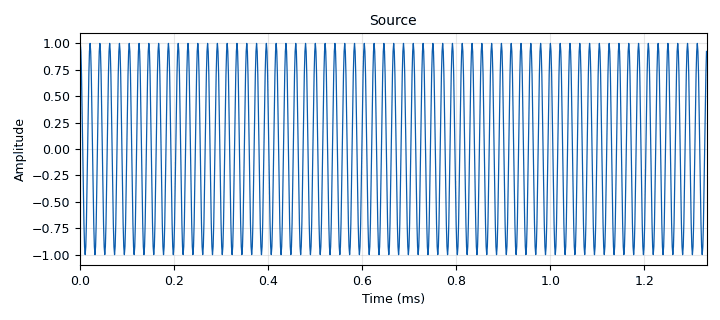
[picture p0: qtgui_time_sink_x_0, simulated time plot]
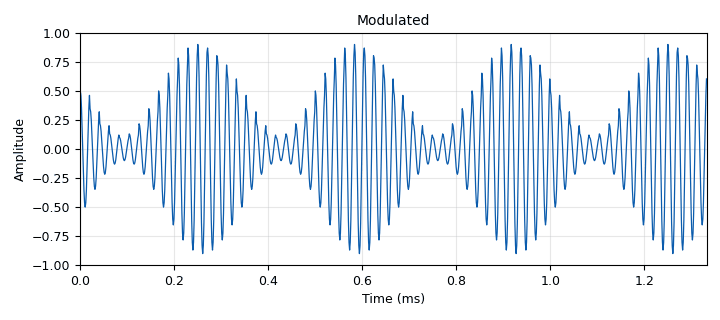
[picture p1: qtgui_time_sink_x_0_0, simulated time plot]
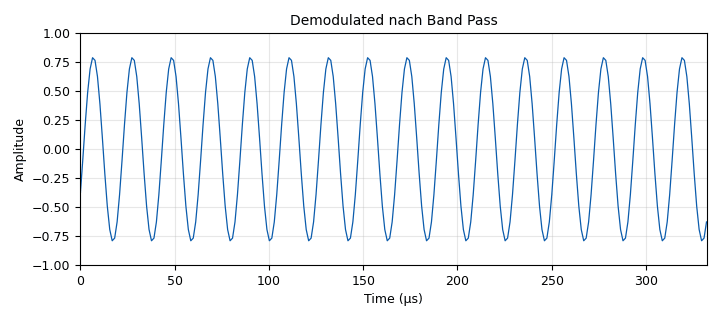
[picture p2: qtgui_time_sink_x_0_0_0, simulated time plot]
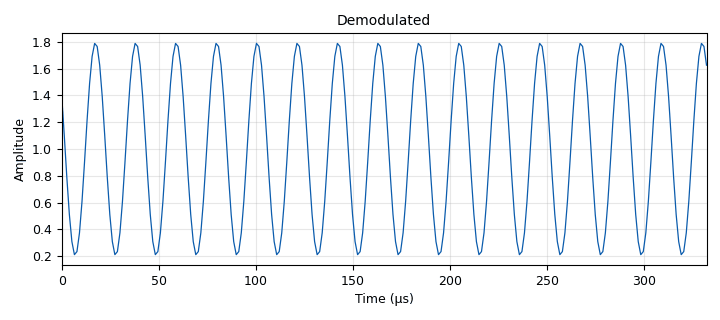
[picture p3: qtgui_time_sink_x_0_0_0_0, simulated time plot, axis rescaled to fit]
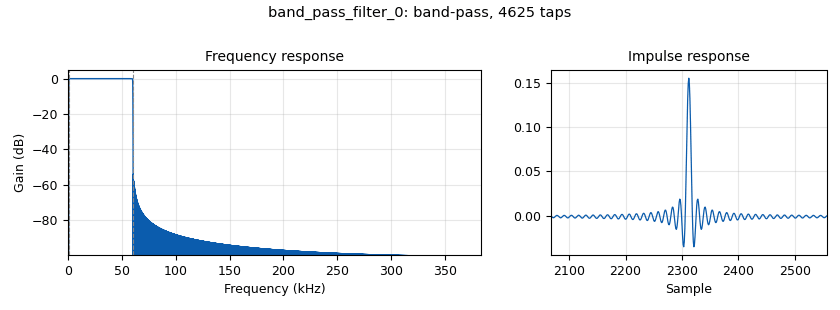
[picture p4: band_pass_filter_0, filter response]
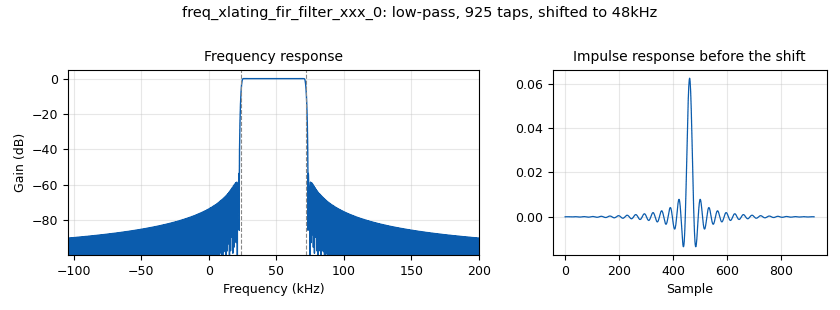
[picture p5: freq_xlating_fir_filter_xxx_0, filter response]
options:
  parameters:
    generate_options: qt_gui
    id: AM_Resiver
    output_language: python
    title: AM resiver
  states: {}

blocks:
- name: decim
  id: variable
  parameters:
    value: '16'
  states: {}
- name: samp_rate
  id: variable
  parameters:
    value: '768000'
  states: {}
- name: analog_agc_xx_0
  id: analog_agc_xx
  parameters:
    gain: '1.0'
    max_gain: '65536'
    rate: '625e-6'
    reference: '1.0'
    type: complex
  states: {}
- name: analog_sig_source_x_0
  id: analog_sig_source_x
  parameters:
    amp: '500e-3'
    freq: 48e3
    offset: '0'
    phase: '0'
    samp_rate: samp_rate
    type: float
    waveform: analog.GR_COS_WAVE
  states: {}
- name: analog_sig_source_x_0_0
  id: analog_sig_source_x
  parameters:
    amp: '1'
    freq: '48000'
    offset: '0'
    phase: '0'
    samp_rate: samp_rate
    type: float
    waveform: analog.GR_COS_WAVE
  states: {}
- name: band_pass_filter_0
  id: band_pass_filter
  parameters:
    decim: '1'
    gain: '1'
    high_cutoff_freq: '60000'
    low_cutoff_freq: '500'
    samp_rate: samp_rate
    type: fir_filter_fff
    width: '400'
    win: firdes.WIN_HAMMING
  states: {}
- name: blocks_add_const_vxx_0
  id: blocks_add_const_vxx
  parameters:
    const: '1'
    type: float
  states: {}
- name: blocks_complex_to_mag_0
  id: blocks_complex_to_mag
  parameters: {}
  states: {}
- name: blocks_multiply_const_vxx_0
  id: blocks_multiply_const_vxx
  parameters:
    const: '0.8'
    type: float
  states: {}
- name: blocks_multiply_xx_0
  id: blocks_multiply_xx
  parameters:
    type: float
  states: {}
- name: blocks_repeat_1
  id: blocks_repeat
  parameters:
    interp: '16'
    type: float
  states: {}
- name: blocks_throttle_0
  id: blocks_throttle
  parameters:
    samples_per_second: samp_rate
    type: float
  states: {}
- name: freq_xlating_fir_filter_xxx_0
  id: freq_xlating_fir_filter_xxx
  parameters:
    center_freq: 48e3
    decim: decim
    samp_rate: samp_rate
    taps: firdes.low_pass(1,samp_rate,samp_rate/(2*decim), 2000)
    type: fcf
  states: {}
- name: qtgui_time_sink_x_0
  id: qtgui_time_sink_x
  parameters:
    autoscale: 'True'
    grid: 'True'
    name: '"Source"'
    size: '1024'
    srate: samp_rate
    type: float
  states: {}
- name: qtgui_time_sink_x_0_0
  id: qtgui_time_sink_x
  parameters:
    name: '"Modulated"'
    size: '1024'
    srate: samp_rate
    type: float
  states: {}
- name: qtgui_time_sink_x_0_0_0
  id: qtgui_time_sink_x
  parameters:
    name: '"Demodulated nach Band Pass"'
    size: '256'
    srate: samp_rate
    type: float
  states: {}
- name: qtgui_time_sink_x_0_0_0_0
  id: qtgui_time_sink_x
  parameters:
    name: '"Demodulated"'
    size: '256'
    srate: samp_rate
    type: float
  states: {}

connections:
- [analog_agc_xx_0, '0', blocks_complex_to_mag_0, '0']
- [analog_sig_source_x_0, '0', blocks_multiply_xx_0, '1']
- [analog_sig_source_x_0_0, '0', blocks_repeat_1, '0']
- [analog_sig_source_x_0_0, '0', qtgui_time_sink_x_0, '0']
- [band_pass_filter_0, '0', qtgui_time_sink_x_0_0_0, '0']
- [blocks_add_const_vxx_0, '0', blocks_multiply_xx_0, '0']
- [blocks_complex_to_mag_0, '0', band_pass_filter_0, '0']
- [blocks_complex_to_mag_0, '0', qtgui_time_sink_x_0_0_0_0, '0']
- [blocks_multiply_const_vxx_0, '0', blocks_add_const_vxx_0, '0']
- [blocks_multiply_xx_0, '0', blocks_throttle_0, '0']
- [blocks_repeat_1, '0', blocks_multiply_const_vxx_0, '0']
- [blocks_throttle_0, '0', freq_xlating_fir_filter_xxx_0, '0']
- [blocks_throttle_0, '0', qtgui_time_sink_x_0_0, '0']
- [freq_xlating_fir_filter_xxx_0, '0', analog_agc_xx_0, '0']

metadata:
  file_format: 1
